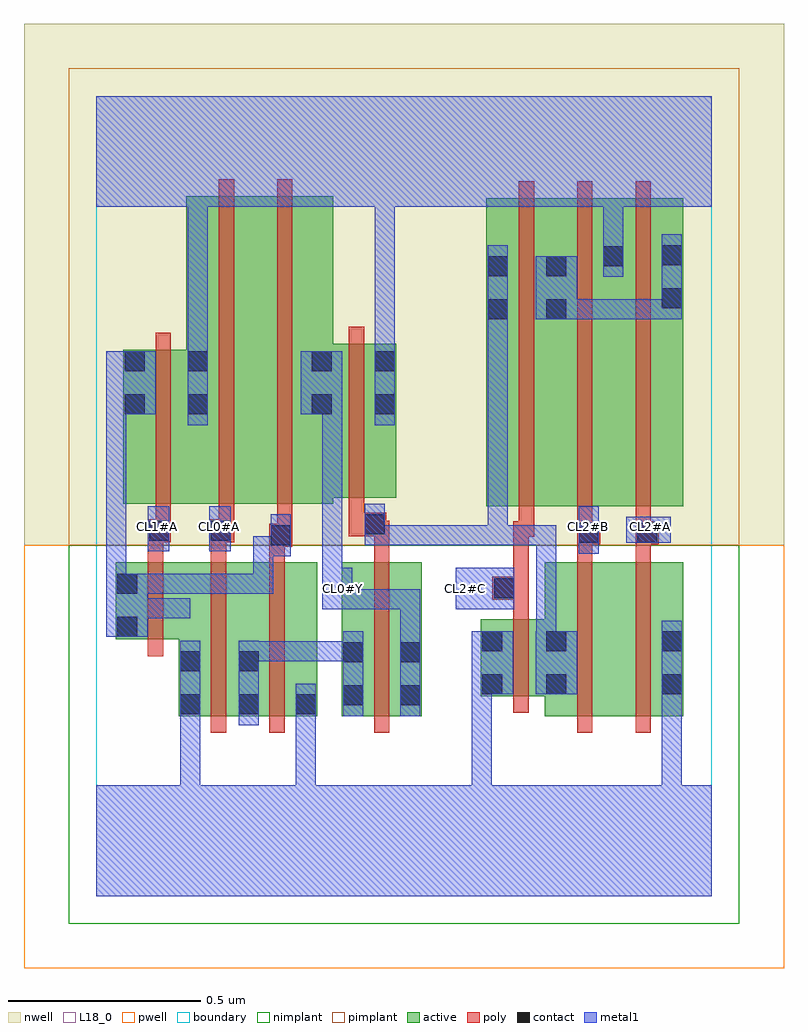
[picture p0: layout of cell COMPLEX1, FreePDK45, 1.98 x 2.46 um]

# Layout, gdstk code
import gdstk
lib = gdstk.Library(unit=1e-6, precision=1e-09)
def R(c, l, rs):  # rectangles x0, y0, x1, y1
    for r in rs: c.add(gdstk.rectangle(r[:2], r[2:], *l))
def A(c, l, x, y, w, h, nx, ny, dx, dy):  # array of equal rectangles
    R(c, l, [(x+i*dx, y+j*dy, x+i*dx+w, y+j*dy+h) for i in range(nx) for j in range(ny)])
active = (1, 0)
pwell = (2, 0)
nwell = (3, 0)
nimplant = (4, 0)
pimplant = (5, 0)
poly = (9, 0)
contact = (10, 0)
metal1 = (11, 0)
L18_0 = (18, 0)
boundary = (235, 0)

complex1 = lib.new_cell('COMPLEX1')
R(complex1, active, [(0.214,0.468,0.274,0.868), (0.214,0.468,0.426,0.868), (0.366,0.468,0.426,0.868), (0.366,0.468,0.574,0.868), (0.514,0.468,0.574,0.868), (0.638,0.468,0.698,0.868), (0.638,0.468,0.846,0.868), (0.786,0.468,0.846,0.868), (1.166,0.468,1.346,0.868), (1.166,0.468,1.226,0.72), (1.346,0.468,1.526,0.868), (1.466,0.468,1.526,0.868), (1,0.52,1.226,0.72), (1,0.52,1.06,0.72), (0.05,0.668,0.11,0.868), (0.05,0.668,0.274,0.868), (1.014,1.014,1.074,1.724), (1.014,1.014,1.226,1.814), (1.166,1.014,1.374,1.814), (1.314,1.014,1.526,1.814), (1.466,1.014,1.526,1.724), (0.07,1.02,0.13,1.42), (0.07,1.02,0.294,1.42), (0.234,1.02,0.294,1.42), (0.234,1.02,0.414,1.82), (0.414,1.02,0.616,1.82), (0.556,1.036,0.78,1.436), (0.556,1.036,0.616,1.724), (0.72,1.036,0.78,1.436), (1.166,1.206,1.226,1.724), (1.314,1.206,1.374,1.756)])
R(complex1, pwell, [(-0.188,-0.188,1.788,0.912)])
R(complex1, nwell, [(-0.188,0.912,1.788,2.268)])
R(complex1, nimplant, [(-0.072,-0.072,1.672,0.912)])
R(complex1, pimplant, [(-0.072,0.912,1.672,2.152)])
A(complex1, poly, 1.098, 0.934, 0.04, 0.076, 3, 1, 0.152, 0)
A(complex1, poly, 1.098, 0.97, 0.04, 0.888, 3, 1, 0.152, 0)
R(complex1, poly, [(0.298,0.424,0.338,0.912), (0.45,0.424,0.49,0.912), (0.722,0.424,0.762,0.912), (1.25,0.424,1.29,0.912), (1.402,0.424,1.442,0.912), (1.084,0.476,1.124,0.764), (0.134,0.624,0.174,0.912), (1.084,0.724,1.124,0.81), (1.03,0.77,1.124,0.83), (1.084,0.79,1.124,0.974), (0.134,0.872,0.174,0.96), (0.298,0.872,0.338,0.96), (0.45,0.872,0.49,0.948), (0.722,0.872,0.762,0.976), (1.25,0.872,1.29,0.954), (1.402,0.872,1.442,0.954), (0.45,0.908,0.51,0.968), (1.25,0.914,1.31,0.974), (1.402,0.914,1.462,0.974), (0.134,0.92,0.174,0.96), (0.134,0.92,0.174,0.96), (0.134,0.92,0.194,0.98), (0.294,0.92,0.358,0.98), (0.298,0.92,0.338,0.96), (0.298,0.92,0.338,0.96), (0.47,0.928,0.51,0.968), (0.47,0.928,0.51,0.968), (0.47,0.928,0.51,1.016), (1.084,0.934,1.138,0.974), (1.25,0.934,1.29,0.974), (1.25,0.934,1.29,0.974), (1.402,0.934,1.442,0.974), (1.402,0.934,1.442,0.974), (0.656,0.936,0.754,0.996), (0.714,0.936,0.754,0.976), (0.714,0.936,0.762,0.976), (0.154,0.94,0.194,1.016), (0.318,0.94,0.358,1.016), (0.656,0.956,0.696,1.032), (0.154,0.976,0.194,1.464), (0.318,0.976,0.358,1.864), (0.47,0.976,0.51,1.864), (0.656,0.992,0.696,1.48)])
R(complex1, contact, [(0.218,0.472,0.27,0.524), (0.37,0.472,0.422,0.524), (0.518,0.472,0.57,0.524), (0.642,0.496,0.694,0.548), (0.79,0.496,0.842,0.548), (1.004,0.524,1.056,0.576), (1.17,0.524,1.222,0.576), (1.47,0.524,1.522,0.576), (0.218,0.584,0.27,0.636), (0.37,0.584,0.422,0.636), (0.642,0.608,0.694,0.66), (0.79,0.608,0.842,0.66), (1.004,0.636,1.056,0.688), (1.17,0.636,1.222,0.688), (1.47,0.636,1.522,0.688), (0.054,0.674,0.106,0.726), (1.034,0.774,1.086,0.826), (0.054,0.786,0.106,0.838), (0.454,0.912,0.506,0.964), (1.254,0.918,1.306,0.97), (1.406,0.918,1.458,0.97), (0.138,0.924,0.19,0.976), (0.298,0.924,0.35,0.976), (0.698,0.94,0.75,0.992), (0.074,1.252,0.126,1.304), (0.238,1.252,0.29,1.304), (0.56,1.252,0.612,1.304), (0.724,1.252,0.776,1.304), (0.074,1.364,0.126,1.416), (0.238,1.364,0.29,1.416), (0.56,1.364,0.612,1.416), (0.724,1.364,0.776,1.416), (1.018,1.5,1.07,1.552), (1.17,1.5,1.222,1.552), (1.47,1.528,1.522,1.58), (1.018,1.612,1.07,1.664), (1.17,1.612,1.222,1.664), (1.318,1.638,1.37,1.69), (1.47,1.64,1.522,1.692)])
R(complex1, metal1, [(0,0,1.6,0.288), (0.218,0.236,0.27,0.496), (0.518,0.236,0.57,0.496), (0.976,0.236,1.028,0.288), (0.976,0.236,1.028,0.288), (0.976,0.236,1.028,0.288), (0.976,0.236,1.028,0.288), (0.976,0.236,1.028,0.288), (0.976,0.236,1.028,0.288), (0.976,0.236,1.028,0.576), (1.47,0.236,1.522,0.288), (1.47,0.236,1.522,0.288), (1.47,0.236,1.522,0.548), (0.218,0.444,0.27,0.496), (0.218,0.444,0.27,0.496), (0.218,0.444,0.27,0.664), (0.37,0.444,0.422,0.664), (0.518,0.444,0.57,0.496), (0.518,0.444,0.57,0.496), (0.518,0.444,0.57,0.552), (0.642,0.468,0.694,0.688), (0.79,0.468,0.842,0.688), (1.47,0.496,1.522,0.716), (0.976,0.524,1.084,0.688), (1.142,0.524,1.25,0.688), (0.37,0.61,0.422,0.662), (0.37,0.61,0.422,0.662), (0.37,0.61,0.57,0.662), (0.518,0.61,0.57,0.662), (0.518,0.61,0.694,0.662), (0.79,0.636,0.842,0.798), (1.144,0.636,1.196,0.688), (1.144,0.636,1.196,0.688), (1.144,0.636,1.196,0.964), (0.026,0.674,0.134,0.838), (0.082,0.722,0.134,0.774), (0.082,0.722,0.134,0.774), (0.082,0.722,0.244,0.774), (0.192,0.722,0.244,0.774), (0.588,0.746,0.666,0.854), (0.614,0.746,0.842,0.798), (0.79,0.746,0.842,0.798), (0.79,0.746,0.842,0.798), (0.79,0.746,0.842,0.798), (0.934,0.746,1.086,0.854), (0.026,0.786,0.078,0.838), (0.026,0.786,0.078,0.838), (0.026,0.786,0.078,0.838), (0.026,0.786,0.078,0.838), (0.026,0.786,0.244,0.838), (0.026,0.786,0.078,1.304), (0.192,0.786,0.244,0.838), (0.192,0.786,0.244,0.838), (0.192,0.786,0.244,0.838), (0.192,0.786,0.46,0.838), (0.408,0.786,0.46,0.936), (0.588,0.802,0.64,0.854), (0.588,0.802,0.64,0.854), (0.588,0.802,0.64,1.304), (0.408,0.884,0.506,0.936), (0.454,0.884,0.506,0.992), (1.254,0.89,1.306,1.014), (0.134,0.896,0.19,1.014), (0.294,0.896,0.35,1.014), (0.698,0.912,0.75,1.02), (0.698,0.912,0.776,0.964), (0.724,0.912,0.776,0.964), (0.724,0.912,1.07,0.964), (1.018,0.912,1.07,0.964), (1.018,0.912,1.07,0.964), (1.018,0.912,1.07,0.964), (1.018,0.912,1.196,0.964), (1.018,0.912,1.07,1.524), (1.144,0.912,1.196,0.964), (1.378,0.918,1.494,0.986), (0.238,1.224,0.29,1.444), (0.724,1.224,0.776,1.444), (0.026,1.252,0.078,1.304), (0.026,1.252,0.078,1.304), (0.026,1.252,0.154,1.416), (0.532,1.252,0.64,1.416), (0.238,1.392,0.29,1.844), (0.724,1.392,0.776,1.444), (0.724,1.392,0.776,1.444), (0.724,1.392,0.776,1.444), (0.724,1.392,0.776,1.444), (0.724,1.392,0.776,1.444), (0.724,1.392,0.776,1.444), (0.724,1.392,0.776,1.444), (0.724,1.392,0.776,1.444), (0.724,1.392,0.776,1.844), (1.018,1.472,1.07,1.692), (1.142,1.5,1.25,1.664), (1.198,1.5,1.25,1.552), (1.198,1.5,1.25,1.552), (1.198,1.5,1.412,1.552), (1.36,1.5,1.412,1.552), (1.36,1.5,1.522,1.552), (1.47,1.5,1.522,1.552), (1.47,1.5,1.522,1.552), (1.47,1.5,1.522,1.72), (1.318,1.61,1.37,1.718), (1.318,1.666,1.37,1.844), (0,1.792,1.6,2.08)])
R(complex1, L18_0, [(0,0,1.6,0.288), (0.218,0.236,0.27,0.496), (0.518,0.236,0.57,0.496), (0.976,0.236,1.028,0.288), (0.976,0.236,1.028,0.288), (0.976,0.236,1.028,0.288), (0.976,0.236,1.028,0.288), (0.976,0.236,1.028,0.288), (0.976,0.236,1.028,0.288), (0.976,0.236,1.028,0.576), (1.47,0.236,1.522,0.288), (1.47,0.236,1.522,0.288), (1.47,0.236,1.522,0.548), (0.218,0.444,0.27,0.496), (0.218,0.444,0.27,0.496), (0.218,0.444,0.27,0.664), (0.518,0.444,0.57,0.496), (0.518,0.444,0.57,0.496), (0.518,0.444,0.57,0.552), (0.79,0.468,0.842,0.688), (1.47,0.496,1.522,0.716), (0.976,0.524,1.084,0.688), (0.79,0.636,0.842,0.798), (0.588,0.746,0.666,0.854), (0.614,0.746,0.842,0.798), (0.79,0.746,0.842,0.798), (0.79,0.746,0.842,0.798), (0.79,0.746,0.842,0.798), (0.934,0.746,1.086,0.854), (0.614,0.774,0.666,0.826), (0.934,0.774,0.986,0.826), (0.588,0.802,0.64,0.854), (0.588,0.802,0.64,0.854), (0.588,0.802,0.64,1.304), (1.254,0.89,1.306,1.014), (0.134,0.896,0.19,1.014), (0.294,0.896,0.35,1.014), (1.378,0.918,1.494,0.986), (0.134,0.934,0.186,0.986), (0.294,0.934,0.346,0.986), (1.254,0.934,1.306,0.986), (1.414,0.934,1.466,0.986), (0.238,1.224,0.29,1.444), (0.724,1.224,0.776,1.444), (0.532,1.252,0.64,1.416), (0.238,1.392,0.29,1.844), (0.724,1.392,0.776,1.444), (0.724,1.392,0.776,1.444), (0.724,1.392,0.776,1.444), (0.724,1.392,0.776,1.444), (0.724,1.392,0.776,1.444), (0.724,1.392,0.776,1.444), (0.724,1.392,0.776,1.444), (0.724,1.392,0.776,1.444), (0.724,1.392,0.776,1.844), (1.318,1.61,1.37,1.718), (1.318,1.666,1.37,1.844), (0,1.792,1.6,2.08)])
R(complex1, boundary, [(0,0,1.6,2.08)])
complex1.add(gdstk.Label('CL0#A', (0.32,0.96), layer=11, texttype=0))
complex1.add(gdstk.Label('CL0#Y', (0.64,0.8), layer=11, texttype=0))
complex1.add(gdstk.Label('CL1#A', (0.16,0.96), layer=11, texttype=0))
complex1.add(gdstk.Label('CL2#A', (1.44,0.96), layer=11, texttype=0))
complex1.add(gdstk.Label('CL2#B', (1.28,0.96), layer=11, texttype=0))
complex1.add(gdstk.Label('CL2#C', (0.96,0.8), layer=11, texttype=0))

lib.write_gds('COMPLEX1.gds')
